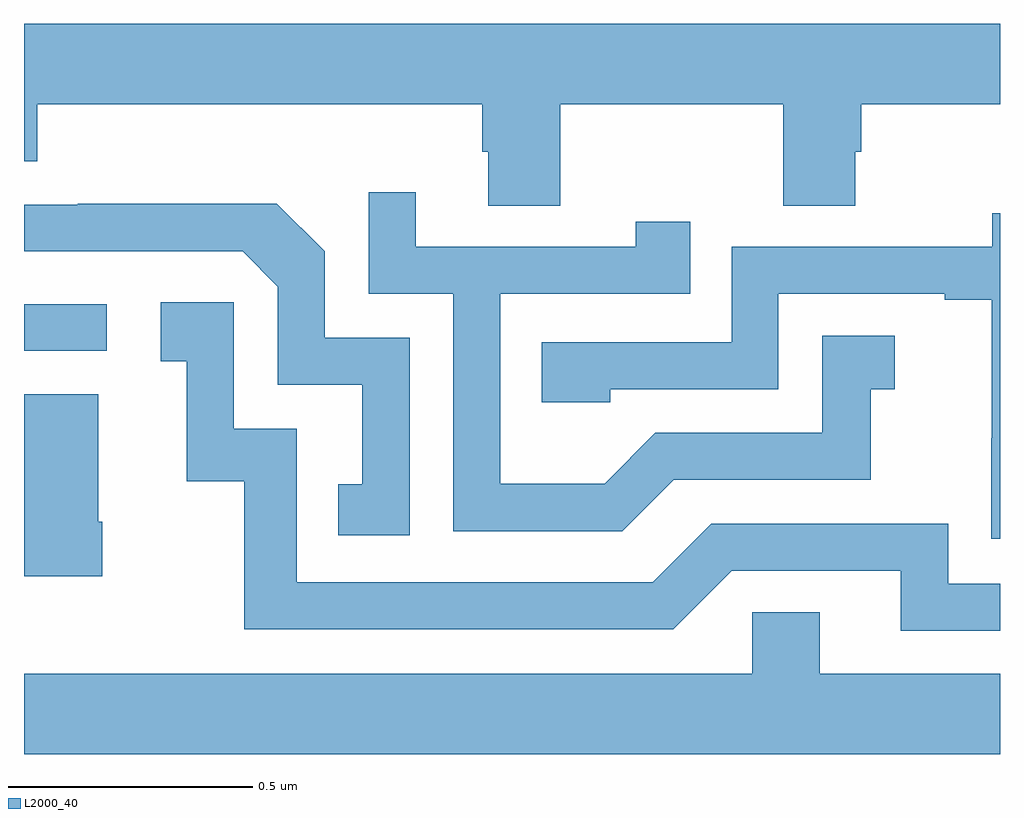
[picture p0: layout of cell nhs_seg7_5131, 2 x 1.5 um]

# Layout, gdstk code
import gdstk
lib = gdstk.Library(unit=1e-6, precision=1e-09)
def R(c, l, rs):  # rectangles x0, y0, x1, y1
    for r in rs: c.add(gdstk.rectangle(r[:2], r[2:], *l))
def P(c, l, *ps):  # polygons
    for p in ps: c.add(gdstk.Polygon(p, *l))
L2000_40 = (2000, 40)

nhs_seg7_5131 = lib.new_cell('nhs_seg7_5131')
R(nhs_seg7_5131, L2000_40, [(182,1004.106,182.17,1004.202)])
P(nhs_seg7_5131, L2000_40, [(183.099,1004.612),(183.556,1004.612),(183.556,1004.404),(183.703,1004.404),(183.703,1004.514),(183.716,1004.514),(183.716,1004.612),(184,1004.612),(184,1004.776),(182,1004.776),(182,1004.495),(182.027,1004.495),(182.027,1004.612),(182.939,1004.612),(182.939,1004.514),(182.951,1004.514),(182.951,1004.404),(183.099,1004.404)],
  [(183.331,1003.842),(183.735,1003.842),(183.735,1004.027),(183.784,1004.027),(183.784,1004.137),(183.636,1004.137),(183.636,1003.938),(183.294,1003.938),(183.19,1003.834),(182.976,1003.834),(182.976,1004.223),(183.365,1004.223),(183.365,1004.371),(183.254,1004.371),(183.254,1004.319),(182.803,1004.319),(182.803,1004.431),(182.706,1004.431),(182.706,1004.223),(182.88,1004.223),(182.88,1003.737),(183.226,1003.737)],
  [(182.79,1004.133),(182.616,1004.133),(182.616,1004.31),(182.518,1004.408),(182.11,1004.408),(182.11,1004.406),(182,1004.406),(182,1004.31),(182.448,1004.31),(182.52,1004.238),(182.52,1004.037),(182.693,1004.037),(182.693,1003.833),(182.644,1003.833),(182.644,1003.728),(182.79,1003.728)],
  [(184,1004.388),(183.984,1004.388),(183.984,1004.319),(183.45,1004.319),(183.45,1004.124),(183.061,1004.124),(183.061,1004.001),(183.201,1004.001),(183.201,1004.028),(183.546,1004.028),(183.546,1004.223),(183.887,1004.223),(183.887,1004.211),(183.983,1004.211),(183.983,1003.927),(183.982,1003.927),(183.982,1003.721),(184,1003.721)],
  [(184,1003.629),(183.894,1003.629),(183.894,1003.752),(183.408,1003.752),(183.288,1003.632),(182.559,1003.632),(182.559,1003.947),(182.43,1003.947),(182.43,1004.206),(182.28,1004.206),(182.28,1004.085),(182.333,1004.085),(182.333,1003.839),(182.451,1003.839),(182.451,1003.536),(183.33,1003.536),(183.45,1003.656),(183.797,1003.656),(183.797,1003.533),(184,1003.533)],
  [(182.16,1003.756),(182.152,1003.756),(182.152,1004.017),(182,1004.017),(182,1003.644),(182.16,1003.644)],
  [(184,1003.444),(183.631,1003.444),(183.631,1003.571),(183.492,1003.571),(183.492,1003.444),(182,1003.444),(182,1003.28),(184,1003.28)])

lib.write_gds('nhs_seg7_5131.gds')
